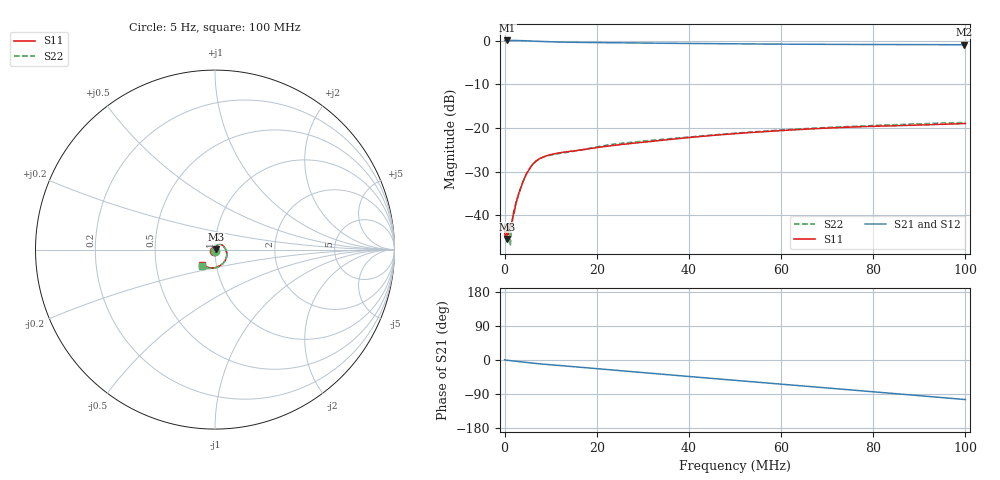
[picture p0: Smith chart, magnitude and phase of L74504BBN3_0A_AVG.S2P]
!Agilent Technologies,E5061B,MY49102235,A.02.00
!Date: Tue Jul 11 15:26:57 2023
!Data & Calibration Information:
!Freq	S11:SOLT2(ON)	S21:SOLT2(ON)	S12:SOLT2(ON)	S22:SOLT2(ON)
# Hz S RI R 50
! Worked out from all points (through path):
!   1600 points, 5 Hz to 100 MHz, reference 50 ohm
!   highest |S21| = 0.02 dB at 625.4 kHz (marker M1); lowest = -1.0 dB at 99.75 MHz (marker M2)
!   group delay of S21, straight-line fit = 2.84 ns
!   lowest |S11| = -45.4 dB at 500.3 kHz (marker M3), VSWR 1.01, Z = 50.5 + j0.265 ohm
!   |S11| at or under -10 dB: start of sweep to end of sweep
!   |S22| runs from -47.0 to -18.7 dB; largest |S21 - S12| = 0.0026
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5  -0.00522 -0.00564  1.002 0.00801  1 0.0102  -0.00151 -0.00756
500317.7  0.00469 0.00262  1.001 -0.0108  1.001 -0.0107  0.00492 0.00104
625395.8  0.00525 0.00323  1.002 -0.0144  1.002 -0.0139  0.00625 0.00283
938091.3  0.00463 0.00535  1.001 -0.0208  1.001 -0.0203  0.00619 0.00477
1313326  0.00499 0.00589  1.001 -0.0296  1.001 -0.0298  0.00318 0.00432
1688560  0.00458 0.00775  0.9999 -0.0399  1.001 -0.0399  0.0043 0.00693
2063795  0.00416 0.0105  1 -0.049  0.9997 -0.0494  0.0046 0.0103
2376490  0.0047 0.0121  0.9984 -0.0564  0.9988 -0.0567  0.00535 0.0124
2939342  0.00655 0.0155  0.9972 -0.0705  0.9968 -0.0706  0.00553 0.0159
3564733  0.00838 0.0194  0.9948 -0.0862  0.9946 -0.0862  0.00752 0.02
4878054  0.0151 0.0268  0.9862 -0.1185  0.9859 -0.1183  0.0147 0.0272
6128835  0.0244 0.0299  0.9745 -0.1452  0.9744 -0.1454  0.0239 0.0302
7629773  0.0343 0.0287  0.9605 -0.1726  0.9603 -0.1724  0.0339 0.029
9443407  0.0424 0.024  0.9465 -0.202  0.9462 -0.202  0.0419 0.024
1.669794e7  0.0558 0.00645  0.8979 -0.3162  0.8977 -0.3159  0.0556 0.00629
2.345216e7  0.0626 -0.00705  0.8455 -0.4199  0.8453 -0.4195  0.0646 -0.00829
3.333334e7  0.065 -0.0303  0.7482 -0.5566  0.7481 -0.5563  0.0662 -0.0315
5.003127e7  0.0506 -0.0697  0.543 -0.7386  0.5429 -0.7384  0.0507 -0.0712
6.672921e7  0.0123 -0.097  0.3019 -0.8539  0.3022 -0.8538  0.0132 -0.0984
8.33646e7  -0.0317 -0.1007  0.042 -0.8987  0.042 -0.8987  -0.0316 -0.1037
9.974984e7  -0.0719 -0.0863  -0.219 -0.8681  -0.2186 -0.8682  -0.0724 -0.0901
1e8  -0.0724 -0.0861  -0.2228 -0.8672  -0.2227 -0.8671  -0.0731 -0.0897
